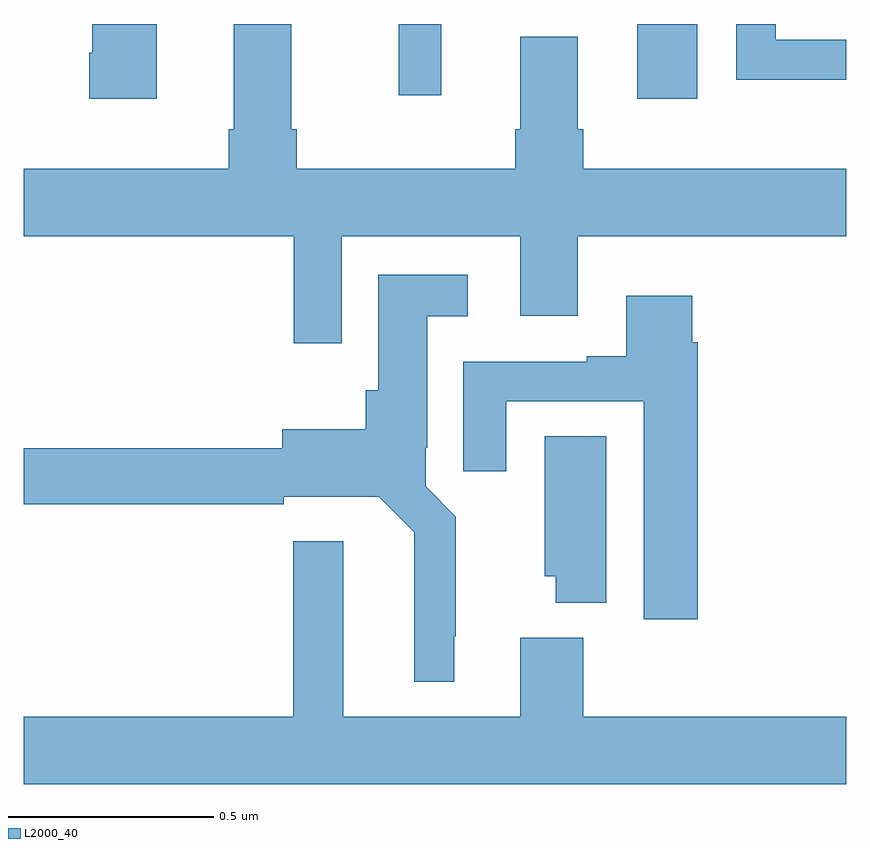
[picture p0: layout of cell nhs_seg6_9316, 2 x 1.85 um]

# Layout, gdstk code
import gdstk
lib = gdstk.Library(unit=1e-6, precision=1e-09)
def R(c, l, rs):  # rectangles x0, y0, x1, y1
    for r in rs: c.add(gdstk.rectangle(r[:2], r[2:], *l))
def P(c, l, *ps):  # polygons
    for p in ps: c.add(gdstk.Polygon(p, *l))
L2000_40 = (2000, 40)

nhs_seg6_9316 = lib.new_cell('nhs_seg6_9316')
R(nhs_seg6_9316, L2000_40, [(233.492,966.318,233.638,966.5), (232.912,966.327,233.015,966.5)])
P(nhs_seg6_9316, L2000_40, [(234,966.462),(233.829,966.462),(233.829,966.5),(233.733,966.5),(233.733,966.365),(234,966.365)],
  [(232.773,965.984),(233.207,965.984),(233.207,965.79),(233.347,965.79),(233.347,965.984),(234,965.984),(234,966.148),(233.36,966.148),(233.36,966.244),(233.347,966.244),(233.347,966.469),(233.207,966.469),(233.207,966.244),(233.195,966.244),(233.195,966.148),(232.664,966.148),(232.664,966.244),(232.651,966.244),(232.651,966.5),(232.511,966.5),(232.511,966.244),(232.499,966.244),(232.499,966.148),(232,966.148),(232,965.984),(232.657,965.984),(232.657,965.724),(232.773,965.724)],
  [(232.324,966.5),(232.166,966.5),(232.166,966.43),(232.159,966.43),(232.159,966.318),(232.324,966.318)],
  [(233.047,965.011),(233.051,965.011),(233.051,965.302),(232.977,965.376),(232.977,965.47),(232.981,965.47),(232.981,965.789),(233.08,965.789),(233.08,965.89),(232.862,965.89),(232.862,965.61),(232.832,965.61),(232.832,965.515),(232.628,965.515),(232.628,965.468),(232,965.468),(232,965.332),(232.632,965.332),(232.632,965.351),(232.863,965.351),(232.95,965.264),(232.95,965.162),(232.949,965.162),(232.949,964.901),(233.047,964.901)],
  [(233.639,965.726),(233.626,965.726),(233.626,965.839),(233.465,965.839),(233.465,965.692),(233.369,965.692),(233.369,965.679),(233.069,965.679),(233.069,965.412),(233.173,965.412),(233.173,965.583),(233.507,965.583),(233.507,965.052),(233.639,965.052)],
  [(233.416,965.498),(233.267,965.498),(233.267,965.157),(233.294,965.157),(233.294,965.093),(233.416,965.093)],
  [(234,964.816),(233.36,964.816),(233.36,965.008),(233.207,965.008),(233.207,964.816),(232.777,964.816),(232.777,965.242),(232.655,965.242),(232.655,964.816),(232,964.816),(232,964.652),(234,964.652)])

lib.write_gds('nhs_seg6_9316.gds')
